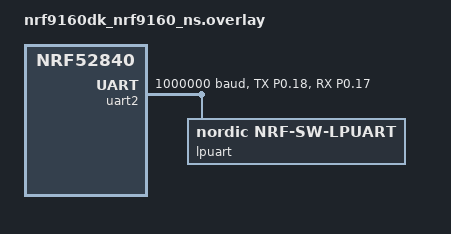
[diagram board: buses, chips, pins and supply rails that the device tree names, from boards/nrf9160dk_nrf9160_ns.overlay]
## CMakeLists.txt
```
# SPDX-License-Identifier: Apache-2.0

cmake_minimum_required(VERSION 3.20.0)
find_package(Zephyr REQUIRED HINTS $ENV{ZEPHYR_BASE})
project(gatway_ble)

target_sources(app PRIVATE src/main.c)

#add_subdirectory_ifdef(CONFIG_GATEWAY_BLE src/modules/gateway_ble)
add_subdirectory(../common/src/sensor_common ${CMAKE_CURRENT_BINARY_DIR}/sensor_common)
add_subdirectory(../concentrator/src/modules/worker_shadow_service ${CMAKE_CURRENT_BINARY_DIR}/worker_shadow_service)
add_subdirectory(src/modules/gateway_ble)
add_subdirectory(src/modules/gateway_lte)
add_subdirectory(src/modules/bt_simple_service_client)
```

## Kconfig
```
#
# Copyright (c) 2020 Nordic Semiconductor ASA
#
# SPDX-License-Identifier: LicenseRef-Nordic-5-Clause
#

menu "AWS IoT Sample Settings"

config AWS_IOT_SAMPLE_APP_VERSION
	string "Application version"
	default "v1.0.0"

config AWS_IOT_SAMPLE_JSON_MESSAGE_SIZE_MAX
	int "Maximum size of JSON messages"
	default 200
	help
	  Maximum size of JSON messages that are sent to AWS IoT.

config AWS_IOT_SAMPLE_PUBLICATION_INTERVAL_SECONDS
	int "Interval in seconds that the sample will publish data"
	default 60

config AWS_IOT_SAMPLE_CONNECTION_RETRY_TIMEOUT_SECONDS
	int "Number of seconds between each AWS IoT connection retry"
	default 30

config AWS_IOT_SAMPLE_DEVICE_ID_USE_HW_ID
	bool "Use HW ID as device ID"
	select AWS_IOT_CLIENT_ID_APP
	depends on HW_ID_LIBRARY
	help
	  Use the devices's hardware ID as device ID when connecting to AWS IOT
endmenu

#
# Copyright (c) 2024 Nordic Semiconductor ASA
#
# SPDX-License-Identifier: LicenseRef-Nordic-5-Clause
#

menu "Gateway BLE"

rsource "src/modules/gateway_ble/Kconfig.gateway_ble"
rsource "../concentrator/src/modules/worker_shadow_service/Kconfig.worker_shadow_service"
rsource "../common/src/sensor_common/Kconfig.sensor_common"


endmenu

menu "Zephyr Kernel"
source "Kconfig.zephyr"
endmenu
```

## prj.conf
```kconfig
CONFIG_CBPRINTF_FP_SUPPORT=y
# Logging
CONFIG_LOG=y
CONFIG_LOG_BUFFER_SIZE=2048
CONFIG_HW_ID_LIBRARY=y
CONFIG_ASSERT=y
CONFIG_JSON_LIBRARY=y
CONFIG_REBOOT=y
CONFIG_DK_LIBRARY=y

#Configurações BLE
CONFIG_BT=y
CONFIG_BT_CENTRAL=y
CONFIG_BT_SMP=y
CONFIG_BT_GATT_CLIENT=y
CONFIG_BT_GATT_DM=y
CONFIG_BT_SCAN=y
CONFIG_BT_SETTINGS=y
CONFIG_BT_GATT_AUTO_DISCOVER_CCC=y
CONFIG_BT_SCAN_FILTER_ENABLE=y
CONFIG_BT_SCAN_UUID_CNT=1


CONFIG_BT_GATT_CLIENT=y
CONFIG_BT_GATT_DM=y
CONFIG_BT_GATT_DM_DATA_PRINT=y

CONFIG_BT_SMP=n


# Networking
CONFIG_NETWORKING=y
CONFIG_NET_NATIVE=n
CONFIG_NET_SOCKETS_OFFLOAD=y
CONFIG_NET_SOCKETS=y

#Condigurações LTE
# Modem library
CONFIG_NRF_MODEM_LIB=y
# LTE link control
CONFIG_LTE_LINK_CONTROL=y
CONFIG_LTE_NETWORK_MODE_LTE_M_NBIOT=y

# LTE link control
CONFIG_LTE_LINK_CONTROL=y
CONFIG_LTE_NETWORK_MODE_LTE_M_NBIOT_GPS=y

CONFIG_LTE_LC_MODEM_SLEEP_MODULE=y
CONFIG_LTE_LC_MODEM_SLEEP_NOTIFICATIONS=y

#Band Lock
CONFIG_LTE_LOCK_BANDS=y
CONFIG_LTE_LOCK_BAND_MASK="1000000000000000000000010100"

#Config PSM
CONFIG_LTE_LC_PSM_MODULE=y
CONFIG_LTE_PSM_REQ_RPTAU="00100001"
CONFIG_LTE_PSM_REQ_RAT="00000000"

# Increase memory heap
CONFIG_HEAP_MEM_POOL_SIZE=8096
CONFIG_MAIN_STACK_SIZE=8096

# AWS IoT library
CONFIG_AWS_IOT=y
CONFIG_AWS_IOT_CLIENT_ID_STATIC="nrf9160dk-1"
CONFIG_AWS_IOT_BROKER_HOST_NAME="a39gsemdrzml9e-ats.iot.us-east-1.amazonaws.com"
CONFIG_AWS_IOT_TOPIC_UPDATE_DELTA_SUBSCRIBE=y
CONFIG_AWS_IOT_TOPIC_GET_ACCEPTED_SUBSCRIBE=y
CONFIG_AWS_IOT_TOPIC_GET_REJECTED_SUBSCRIBE=y
CONFIG_AWS_IOT_SAMPLE_JSON_MESSAGE_SIZE_MAX=512

# MQTT helper library
CONFIG_MQTT_HELPER=y
CONFIG_MQTT_HELPER_SEC_TAG=7337
CONFIG_MQTT_HELPER_LAST_WILL=y
CONFIG_MQTT_HELPER_STACK_SIZE=4096

# MQTT - Maximum MQTT keepalive timeout specified by AWS IoT Core
CONFIG_MQTT_KEEPALIVE=1200
CONFIG_MQTT_CLEAN_SESSION=y


CONFIG_BT_RX_STACK_SIZE=2048
CONFIG_BT_USER_DATA_LEN_UPDATE=y
CONFIG_BT_CTLR_DATA_LENGTH_MAX=251
CONFIG_BT_BUF_ACL_RX_SIZE=251
CONFIG_BT_BUF_ACL_TX_SIZE=251
CONFIG_BT_L2CAP_TX_MTU=247
```

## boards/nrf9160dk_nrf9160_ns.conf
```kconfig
CONFIG_NRF_SW_LPUART=y
CONFIG_NRF_SW_LPUART_INT_DRIVEN=y

CONFIG_UART_2_ASYNC=y
CONFIG_UART_2_INTERRUPT_DRIVEN=n
CONFIG_UART_2_NRF_HW_ASYNC=y
CONFIG_UART_2_NRF_HW_ASYNC_TIMER=2

# Enable Bluetooth stack and libraries
CONFIG_BT_H4=y
CONFIG_BT_HCI=y
CONFIG_BT_CTLR=n
CONFIG_BT_WAIT_NOP=y

CONFIG_UART_INTERRUPT_DRIVEN=y

# Heap and stacks
CONFIG_HEAP_MEM_POOL_SIZE=16384
CONFIG_MAIN_STACK_SIZE=8192
CONFIG_SYSTEM_WORKQUEUE_STACK_SIZE=4096
```

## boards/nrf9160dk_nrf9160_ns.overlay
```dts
#include <nrf9160/nrf9160dk_nrf52840_reset_on_if5.dtsi>

/ {
	chosen {
		zephyr,bt-uart=&lpuart;
		zephyr,bt-hci = &bt_hci_uart;
	};
};

&gpiote {
	interrupts = <49 NRF_DEFAULT_IRQ_PRIORITY>;
};

&uart2 {
	current-speed = <1000000>;
	status = "okay";
	/delete-property/ hw-flow-control;

	pinctrl-0 = <&uart2_default_alt>;
	pinctrl-1 = <&uart2_sleep_alt>;
	pinctrl-names = "default", "sleep";
	lpuart: nrf-sw-lpuart {
		compatible = "nordic,nrf-sw-lpuart";
		status = "okay";
		req-pin = <21>; /* <&interface_to_nrf52840 3 0>; */
		rdy-pin = <19>; /* <&interface_to_nrf52840 2 0>; */

        bt_hci_uart: bt_hci_uart {
            compatible = "zephyr,bt-hci-uart";
            status = "okay";
            };
	};
};

&pinctrl {
	uart2_default_alt: uart2_default_alt {
		group1 {
			psels = <NRF_PSEL(UART_TX, 0, 18)>,
				<NRF_PSEL(UART_RX, 0, 17)>;
		};
	};

	uart2_sleep_alt: uart2_sleep_alt {
		group1 {
			psels = <NRF_PSEL(UART_TX, 0, 18)>,
				<NRF_PSEL(UART_RX, 0, 17)>;
			low-power-enable;
		};
	};

};
```

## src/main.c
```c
#include <zephyr/kernel.h>
#include "gateway_ble.h"
#include "gateway_lte.h"
#include "bt_simple_service_client.h"
#include <zephyr/logging/log.h>
#include <net/aws_iot.h>
#include <string.h>
#include <stdio.h>


#include <zephyr/sys/reboot.h>
#include <zephyr/dfu/mcuboot.h>
#include <zephyr/logging/log_ctrl.h>
#include <zephyr/net/conn_mgr_connectivity.h>
#include <zephyr/net/conn_mgr_monitor.h>
#include <hw_id.h>
#include <modem/modem_info.h>

LOG_MODULE_REGISTER(gateway_main, LOG_LEVEL_INF);

/* Macro called upon a fatal error, reboots the device. */
#define FATAL_ERROR()					\
	LOG_ERR("Fatal error! Rebooting the device.");	\
	LOG_PANIC();					\
	IF_ENABLED(CONFIG_REBOOT, (sys_reboot(0)))


/* Application specific topics. */
#define MY_CUSTOM_TOPIC_1 "dk/led0"
#define MY_CUSTOM_TOPIC_2 "my-custom-topic/example_2"

/* Variável global para armazenar o shadow atual e mutex para proteção */
static concentrator_shadow_t current_shadow;
static struct k_mutex shadow_mutex;

/* Declarações antecipadas */
static void shadow_update_work_fn(struct k_work *work);
static void connect_work_fn(struct k_work *work);
static void aws_iot_event_handler(const struct aws_iot_evt *const evt);
static void print_shadow(const concentrator_shadow_t *shadow);

/* Work items */
static K_WORK_DELAYABLE_DEFINE(shadow_update_work, shadow_update_work_fn);
static K_WORK_DELAYABLE_DEFINE(connect_work, connect_work_fn);

/* Hardware ID */
static char hw_id[HW_ID_LEN];

/* Função que atualiza o shadow ao receber uma notificação BLE */
uint8_t concentrator_data_handler(struct bt_simple_service *simple_service,
    const uint8_t *data, uint16_t length)
{
	LOG_DBG("Dados recebidos do cliente: %u bytes", length);
    if (length != sizeof(concentrator_shadow_t)) {
        LOG_ERR("Tamanho dos dados recebidos (%u) incompatível", length);
        return BT_GATT_ITER_CONTINUE;
    }

    /* Atualiza o current_shadow com proteção do mutex */
    k_mutex_lock(&shadow_mutex, K_FOREVER);
    memcpy(&current_shadow, data, sizeof(concentrator_shadow_t));
    k_mutex_unlock(&shadow_mutex);

    LOG_DBG("Shadow atualizado via notificação BLE");
    print_shadow(&current_shadow);

    return BT_GATT_ITER_CONTINUE;
}

/* Função que prepara o JSON com base no shadow atual e envia via AWS IoT */
static void shadow_update_work_fn(struct k_work *work)
{
    int err;
    char message[CONFIG_AWS_IOT_SAMPLE_JSON_MESSAGE_SIZE_MAX] = { 0 };
    struct aws_iot_data tx_data = {
        .qos = MQTT_QOS_0_AT_MOST_ONCE,
        .topic.type = AWS_IOT_SHADOW_TOPIC_UPDATE,
    };

    concentrator_shadow_t s_copy;
    /* Cria uma cópia dos dados atuais com proteção do mutex */
    k_mutex_lock(&shadow_mutex, K_FOREVER);
    s_copy = current_shadow;
    k_mutex_unlock(&shadow_mutex);


	snprintf(message, sizeof(message),
	"{\"state\":{\"reported\":{"
	"\"uptime\": %lld, "
	"\"app_version\": \"%s\", "
	"\"concentrator_timestamp\": %u, "
	"\"temperature\": %.2f, "
	"\"pressure\": %.1f, "
	"\"latitude\": %.7f, "
	"\"longitude\": %.7f, "
	"\"fix_type\": %u, "
	"\"movement\": %u, "
	"\"posture\": %u, "
	"\"light\": %d"
	"}}}",
	(long long)k_uptime_get(),
	CONFIG_AWS_IOT_SAMPLE_APP_VERSION,
	s_copy.concentrator_timestamp,
	s_copy.temperature / 100.0,
	s_copy.pressure / 10.0,
	s_copy.latitude / 1e7,
	s_copy.longitude / 1e7,
	s_copy.fix_type,
	s_copy.movement,
	s_copy.posture,
	s_copy.light);



    tx_data.ptr = message;
    tx_data.len = strlen(message);
    LOG_INF("Enviando mensagem: %s para o AWS IoT Shadow", message);

    err = aws_iot_send(&tx_data);
    if (err) {
        LOG_ERR("aws_iot_send falhou, erro: %d", err);
        //FATAL_ERROR();
        return;
    }

    (void)k_work_reschedule(&shadow_update_work,
                K_SECONDS(CONFIG_AWS_IOT_SAMPLE_PUBLICATION_INTERVAL_SECONDS));
}


/* Função auxiliar para exibir o shadow */
static void print_shadow(const concentrator_shadow_t *shadow)
{
    LOG_INF("Notificação recebida:");
    LOG_INF(" Timestamp: %u", shadow->concentrator_timestamp);
    LOG_INF(" Temp: %.2f°C", shadow->temperature / 100.0);
    LOG_INF(" Pressure: %.1f hPa", shadow->pressure / 10.0);
    LOG_INF(" Lat: %.7f", shadow->latitude / 1e7);
    LOG_INF(" Lon: %.7f", shadow->longitude / 1e7);
    LOG_INF(" Fix: %d", shadow->fix_type);
    LOG_INF(" Move: %d | Posture: %d", shadow->movement, shadow->posture);
    LOG_INF(" Light: %d", shadow->light);
    LOG_INF("--------------------------------------------------");
}


static void connect_work_fn(struct k_work *work)
{
	int err;
	const struct aws_iot_config config = {
		.client_id = hw_id,
	};

	LOG_INF("Connecting to AWS IoT");

	err = aws_iot_connect(&config);
	if (err == -EAGAIN) {
		LOG_INF("Connection attempt timed out, "
			"Next connection retry in %d seconds",
			CONFIG_AWS_IOT_SAMPLE_CONNECTION_RETRY_TIMEOUT_SECONDS);

		(void)k_work_reschedule(&connect_work,
				K_SECONDS(CONFIG_AWS_IOT_SAMPLE_CONNECTION_RETRY_TIMEOUT_SECONDS));
	} else if (err) {
		LOG_ERR("aws_iot_connect, error: %d", err);
		FATAL_ERROR();
	}
}

static void on_aws_iot_evt_connected(const struct aws_iot_evt *const evt)
{
	(void)k_work_cancel_delayable(&connect_work);

	/* If persistent session is enabled, the AWS IoT library will not subscribe to any topics.
	 * Topics from the last session will be used.
	 */
	if (evt->data.persistent_session) {
		LOG_WRN("Persistent session is enabled, using subscriptions "
			"from the previous session");
	}

	/* Mark image as working to avoid reverting to the former image after a reboot. */
#if defined(CONFIG_BOOTLOADER_MCUBOOT)
	boot_write_img_confirmed();
#endif

	/* Start sequential updates to AWS IoT. */
	(void)k_work_reschedule(&shadow_update_work, K_NO_WAIT);
}

static void on_aws_iot_evt_disconnected(void)
{
	//(void)k_work_cancel_delayable(&shadow_update_work);
	//(void)k_work_reschedule(&connect_work, K_SECONDS(5));
}

static void on_aws_iot_evt_fota_done(const struct aws_iot_evt *const evt)
{

	/* Tear down MQTT connection. */
	(void)aws_iot_disconnect();
	(void)k_work_cancel_delayable(&connect_work);

	/* If modem FOTA has been carried out, the modem needs to be reinitialized.
	 * This is carried out by bringing the network interface down/up.
	 */
	if (evt->data.image & DFU_TARGET_IMAGE_TYPE_ANY_MODEM) {
		LOG_INF("Modem FOTA done, reinitializing the modem");

        // Implement modem reinitialization here
		
	} else if (evt->data.image & DFU_TARGET_IMAGE_TYPE_ANY_APPLICATION) {
		LOG_INF("Application FOTA done, rebooting");
		IF_ENABLED(CONFIG_REBOOT, (sys_reboot(0)));
	} else {
		LOG_WRN("Unexpected FOTA image type");
	}
}

static void aws_iot_event_handler(const struct aws_iot_evt *const evt)
{
	switch (evt->type) {
	case AWS_IOT_EVT_CONNECTING:
		LOG_INF("AWS_IOT_EVT_CONNECTING");
		break;
	case AWS_IOT_EVT_CONNECTED:
		LOG_INF("AWS_IOT_EVT_CONNECTED");
		on_aws_iot_evt_connected(evt);
		break;
	case AWS_IOT_EVT_DISCONNECTED:
		LOG_INF("AWS_IOT_EVT_DISCONNECTED");
		on_aws_iot_evt_disconnected();
		break;
	case AWS_IOT_EVT_DATA_RECEIVED:
		LOG_INF("AWS_IOT_EVT_DATA_RECEIVED");

		LOG_INF("Received message: \"%.*s\" on topic: \"%.*s\"", evt->data.msg.len,
									 evt->data.msg.ptr,
									 evt->data.msg.topic.len,
									 evt->data.msg.topic.str);
		break;
	case AWS_IOT_EVT_PUBACK:
		LOG_INF("AWS_IOT_EVT_PUBACK, message ID: %d", evt->data.message_id);
		break;
	case AWS_IOT_EVT_PINGRESP:
		LOG_INF("AWS_IOT_EVT_PINGRESP");
		break;
	case AWS_IOT_EVT_FOTA_START:
		LOG_INF("AWS_IOT_EVT_FOTA_START");
		break;
	case AWS_IOT_EVT_FOTA_ERASE_PENDING:
		LOG_INF("AWS_IOT_EVT_FOTA_ERASE_PENDING");
		break;
	case AWS_IOT_EVT_FOTA_ERASE_DONE:
		LOG_INF("AWS_FOTA_EVT_ERASE_DONE");
		break;
	case AWS_IOT_EVT_FOTA_DONE:
		LOG_INF("AWS_IOT_EVT_FOTA_DONE");
		on_aws_iot_evt_fota_done(evt);
		break;
	case AWS_IOT_EVT_FOTA_DL_PROGRESS:
		LOG_INF("AWS_IOT_EVT_FOTA_DL_PROGRESS, (%d%%)", evt->data.fota_progress);
		break;
	case AWS_IOT_EVT_ERROR:
		LOG_INF("AWS_IOT_EVT_ERROR, %d", evt->data.err);
		FATAL_ERROR();
		break;
	case AWS_IOT_EVT_FOTA_ERROR:
		LOG_INF("AWS_IOT_EVT_FOTA_ERROR");
		break;
	default:
		LOG_WRN("Unknown AWS IoT event type: %d", evt->type);
		break;
	}
}

static int app_topics_subscribe(void)
{
	int err;
	static const struct mqtt_topic topic_list[] = {
		{
			.topic.utf8 = MY_CUSTOM_TOPIC_1,
			.topic.size = sizeof(MY_CUSTOM_TOPIC_1) - 1,
			.qos = MQTT_QOS_1_AT_LEAST_ONCE,
		},
		{
			.topic.utf8 = MY_CUSTOM_TOPIC_2,
			.topic.size = sizeof(MY_CUSTOM_TOPIC_2) - 1,
			.qos = MQTT_QOS_1_AT_LEAST_ONCE,
		}
	};

	err = aws_iot_application_topics_set(topic_list, ARRAY_SIZE(topic_list));
	if (err) {
		LOG_ERR("aws_iot_application_topics_set, error: %d", err);
		FATAL_ERROR();
		return err;
	}

	return 0;
}

static int aws_iot_client_init(void)
{
	int err;

    LOG_INF("Initializing AWS IoT library");

	err = aws_iot_init(aws_iot_event_handler);
	if (err) {
		LOG_ERR("AWS IoT library could not be initialized, error: %d", err);
		FATAL_ERROR();
		return err;
	}

	// /* Add application specific non-shadow topics to the AWS IoT library.
	//  * These topics will be subscribed to when connecting to the broker.
	//  */
	err = app_topics_subscribe();
	if (err) {
		LOG_ERR("Adding application specific topics failed, error: %d", err);
		FATAL_ERROR();
		return err;
	}

	return 0;
}
int main(void)
{
    int err;

    /* Inicializa o mutex */
    k_mutex_init(&shadow_mutex);

    LOG_INF("Gateway BLE Example");

    err = gateway_lte_init();
    if (err) {
        LOG_ERR("Inicialização LTE falhou: %d", err);
        return 1;
    }

	LOG_DGB("Inicializando BLE...");
    err = bt_enable(NULL);
    if (err) {
        LOG_ERR("Inicialização Bluetooth falhou: %d", err);
        return 1;
    }

    err = gateway_ble_init(concentrator_data_handler);
    if (err) {
        LOG_ERR("Inicialização BLE falhou: %d", err);
        return 1;
    }

    while (rrc_state == RRC_DISCONNECTED || rrc_state == RRC_CONNECTING) {
        k_sleep(K_MSEC(500));
    }
    LOG_WRN("Gateway conectado à rede LTE");

    /* A inicialização do cliente AWS IoT pode ser realizada aqui, se necessário */
    /* Exemplo:
     * err = aws_iot_client_init();
     * if (err) { ... }
     * k_work_reschedule(&connect_work, K_SECONDS(5));
     */

	 err = aws_iot_client_init();
	if (err) {
		LOG_ERR("AWS IoT client initialization failed: %d", err);
		return 1;
	}
	
	k_work_reschedule(&connect_work, K_SECONDS(5));
	 		

    return 0;
}
```
